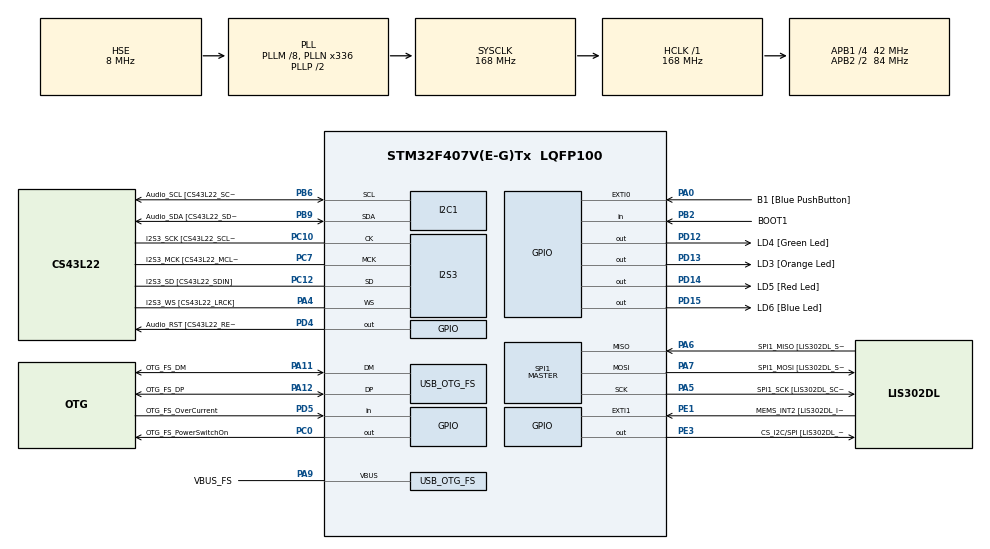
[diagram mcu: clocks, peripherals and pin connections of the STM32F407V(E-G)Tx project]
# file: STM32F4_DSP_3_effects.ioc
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Dma.Request0=SPI3_TX
Dma.SPI3_TX.0.Direction=DMA_MEMORY_TO_PERIPH
Dma.SPI3_TX.0.FIFOMode=DMA_FIFOMODE_DISABLE
Dma.SPI3_TX.0.Instance=DMA1_Stream5
Dma.SPI3_TX.0.MemDataAlignment=DMA_MDATAALIGN_HALFWORD
Dma.SPI3_TX.0.MemInc=DMA_MINC_ENABLE
Dma.SPI3_TX.0.Mode=DMA_NORMAL
Dma.SPI3_TX.0.PeriphDataAlignment=DMA_PDATAALIGN_HALFWORD
Dma.SPI3_TX.0.PeriphInc=DMA_PINC_DISABLE
Dma.SPI3_TX.0.Priority=DMA_PRIORITY_HIGH
I2S3.AudioFreq-Half_Duplex_Master=I2S_AUDIOFREQ_96K
I2S3.ErrorAudioFreq=-2.34 %
I2S3.ErrorAudioFreq-Half_Duplex_Master=0.8 %
I2S3.FullDuplexMode=I2S_FULLDUPLEXMODE_DISABLE
I2S3.Instance=SPI$Index
I2S3.RealAudioFreq=93.75 KHz
I2S3.RealAudioFreq-Half_Duplex_Master=96.774 KHz
I2S3.VirtualMode=I2S_MODE_MASTER
Mcu.Family=STM32F4
Mcu.Name=STM32F407V(E-G)Tx
Mcu.Package=LQFP100
NVIC.DMA1_Stream5_IRQn=true\:0\:0\:false\:false\:true\:false\:true\:true
NVIC.OTG_FS_IRQn=true\:0\:0\:false\:false\:true\:true\:true\:true
NVIC.PriorityGroup=NVIC_PRIORITYGROUP_0
PA0-WKUP.GPIO_Label=B1 [Blue PushButton]
PA0-WKUP.GPIO_ModeDefaultEXTI=GPIO_MODE_EVT_RISING
PA0-WKUP.GPIO_PuPd=GPIO_NOPULL
PA0-WKUP.Signal=GPXTI0
PA10.GPIO_Label=OTG_FS_ID
PA10.GPIO_Mode=GPIO_MODE_AF_PP
PA10.GPIO_PuPd=GPIO_NOPULL
PA10.GPIO_Speed=GPIO_SPEED_FREQ_LOW
PA10.Signal=USB_OTG_FS_ID
PA11.GPIO_Label=OTG_FS_DM
PA11.GPIO_Mode=GPIO_MODE_AF_PP
PA11.GPIO_PuPd=GPIO_NOPULL
PA11.GPIO_Speed=GPIO_SPEED_FREQ_LOW
PA11.Mode=Device_Only
PA11.Signal=USB_OTG_FS_DM
PA12.GPIO_Label=OTG_FS_DP
PA12.GPIO_Mode=GPIO_MODE_AF_PP
PA12.GPIO_PuPd=GPIO_NOPULL
PA12.GPIO_Speed=GPIO_SPEED_FREQ_LOW
PA12.Mode=Device_Only
PA12.Signal=USB_OTG_FS_DP
PA13.GPIO_Label=SWDIO
PA13.Mode=Serial_Wire
PA13.Signal=SYS_JTMS-SWDIO
PA14.GPIO_Label=SWCLK
PA14.Mode=Serial_Wire
PA14.Signal=SYS_JTCK-SWCLK
PA4.GPIO_Label=I2S3_WS [CS43L22_LRCK]
PA4.GPIO_Mode=GPIO_MODE_AF_PP
PA4.GPIO_PuPd=GPIO_NOPULL
PA4.GPIO_Speed=GPIO_SPEED_FREQ_LOW
PA4.Mode=Half_Duplex_Master
PA4.Signal=I2S3_WS
PA5.GPIO_Label=SPI1_SCK [LIS302DL_SCL/SPC]
PA5.GPIO_Mode=GPIO_MODE_AF_PP
PA5.GPIO_PuPd=GPIO_NOPULL
PA5.GPIO_Speed=GPIO_SPEED_FREQ_LOW
PA5.Mode=Full_Duplex_Master
PA5.Signal=SPI1_SCK
PA6.GPIO_Label=SPI1_MISO [LIS302DL_SDO]
PA6.GPIO_Mode=GPIO_MODE_AF_PP
PA6.GPIO_PuPd=GPIO_NOPULL
PA6.GPIO_Speed=GPIO_SPEED_FREQ_LOW
PA6.Mode=Full_Duplex_Master
PA6.Signal=SPI1_MISO
PA7.GPIO_Label=SPI1_MOSI [LIS302DL_SDA/SDI/SDO]
PA7.GPIO_Mode=GPIO_MODE_AF_PP
PA7.GPIO_PuPd=GPIO_NOPULL
PA7.GPIO_Speed=GPIO_SPEED_FREQ_LOW
PA7.Mode=Full_Duplex_Master
PA7.Signal=SPI1_MOSI
PA9.GPIO_Label=VBUS_FS
PA9.GPIO_Mode=GPIO_MODE_INPUT
PA9.GPIO_PuPd=GPIO_NOPULL
PA9.Mode=Activate_VBUS
PA9.Signal=USB_OTG_FS_VBUS
PB10.GPIO_Label=CLK_IN [MP45DT02_CLK]
PB10.GPIO_Mode=GPIO_MODE_AF_PP
PB10.GPIO_PuPd=GPIO_NOPULL
PB10.GPIO_Speed=GPIO_SPEED_FREQ_LOW
PB10.Signal=I2S2_CK
PB2.GPIO_Label=BOOT1
PB2.GPIO_Mode=GPIO_MODE_INPUT
PB2.GPIO_PuPd=GPIO_NOPULL
PB2.Signal=GPIO_Input
PB3.GPIO_Label=SWO
PB3.Signal=SYS_JTDO-SWO
PB6.GPIO_Label=Audio_SCL [CS43L22_SCL]
PB6.GPIO_Mode=GPIO_MODE_AF_OD
PB6.GPIO_Pu=GPIO_PULLUP
PB6.GPIO_PuPd=GPIO_NOPULL
PB6.GPIO_Speed=GPIO_SPEED_FREQ_LOW
PB6.Mode=I2C
PB6.Signal=I2C1_SCL
PB9.GPIO_Label=Audio_SDA [CS43L22_SDA]
PB9.GPIO_Mode=GPIO_MODE_AF_OD
PB9.GPIO_Pu=GPIO_PULLUP
PB9.GPIO_PuPd=GPIO_NOPULL
PB9.GPIO_Speed=GPIO_SPEED_FREQ_LOW
PB9.Mode=I2C
PB9.Signal=I2C1_SDA
PC0.GPIO_Label=OTG_FS_PowerSwitchOn
PC0.GPIO_PuPd=GPIO_NOPULL
PC0.GPIO_Speed=GPIO_SPEED_FREQ_LOW
PC0.PinState=GPIO_PIN_SET
PC0.Signal=GPIO_Output
PC10.GPIO_Label=I2S3_SCK [CS43L22_SCLK]
PC10.GPIO_Mode=GPIO_MODE_AF_PP
PC10.GPIO_PuPd=GPIO_NOPULL
PC10.GPIO_Speed=GPIO_SPEED_FREQ_LOW
PC10.Mode=Half_Duplex_Master
PC10.Signal=I2S3_CK
PC12.GPIO_Label=I2S3_SD [CS43L22_SDIN]
PC12.GPIO_Mode=GPIO_MODE_AF_PP
PC12.GPIO_PuPd=GPIO_NOPULL
PC12.GPIO_Speed=GPIO_SPEED_FREQ_LOW
PC12.Mode=Half_Duplex_Master
PC12.Signal=I2S3_SD
PC14-OSC32_IN.GPIO_Label=PC14-OSC32_IN
PC14-OSC32_IN.Mode=LSE-External-Oscillator
PC14-OSC32_IN.Signal=RCC_OSC32_IN
PC15-OSC32_OUT.GPIO_Label=PC15-OSC32_OUT
PC15-OSC32_OUT.Mode=LSE-External-Oscillator
PC15-OSC32_OUT.Signal=RCC_OSC32_OUT
PC3.GPIO_Label=PDM_OUT [MP45DT02_DOUT]
PC3.GPIO_Mode=GPIO_MODE_AF_PP
PC3.GPIO_PuPd=GPIO_NOPULL
PC3.GPIO_Speed=GPIO_SPEED_FREQ_LOW
PC3.Signal=I2S2_SD
PC7.GPIO_Label=I2S3_MCK [CS43L22_MCLK]
PC7.GPIO_Mode=GPIO_MODE_AF_PP
PC7.GPIO_PuPd=GPIO_NOPULL
PC7.GPIO_Speed=GPIO_SPEED_FREQ_LOW
PC7.Mode=Master_Clock_Activated
PC7.Signal=I2S3_MCK
PD12.GPIO_Label=LD4 [Green Led]
PD12.GPIO_PuPd=GPIO_NOPULL
PD12.GPIO_Speed=GPIO_SPEED_FREQ_LOW
PD12.Signal=GPIO_Output
PD13.GPIO_Label=LD3 [Orange Led]
PD13.GPIO_PuPd=GPIO_NOPULL
PD13.GPIO_Speed=GPIO_SPEED_FREQ_LOW
PD13.Signal=GPIO_Output
PD14.GPIO_Label=LD5 [Red Led]
PD14.GPIO_PuPd=GPIO_NOPULL
PD14.GPIO_Speed=GPIO_SPEED_FREQ_LOW
PD14.Signal=GPIO_Output
PD15.GPIO_Label=LD6 [Blue Led]
PD15.GPIO_PuPd=GPIO_NOPULL
PD15.GPIO_Speed=GPIO_SPEED_FREQ_LOW
PD15.Signal=GPIO_Output
PD4.GPIO_Label=Audio_RST [CS43L22_RESET]
PD4.GPIO_PuPd=GPIO_NOPULL
PD4.GPIO_Speed=GPIO_SPEED_FREQ_LOW
PD4.Signal=GPIO_Output
PD5.GPIO_Label=OTG_FS_OverCurrent
PD5.GPIO_Mode=GPIO_MODE_INPUT
PD5.GPIO_PuPd=GPIO_NOPULL
PD5.Signal=GPIO_Input
PE1.GPIO_Label=MEMS_INT2 [LIS302DL_INT2]
PE1.GPIO_ModeDefaultEXTI=GPIO_MODE_EVT_RISING
PE1.GPIO_PuPd=GPIO_NOPULL
PE1.Signal=GPXTI1
PE3.GPIO_Label=CS_I2C/SPI [LIS302DL_CS_I2C/SPI]
PE3.GPIO_PuPd=GPIO_NOPULL
PE3.GPIO_Speed=GPIO_SPEED_FREQ_LOW
PE3.Signal=GPIO_Output
PH0-OSC_IN.GPIO_Label=PH0-OSC_IN
PH0-OSC_IN.Mode=HSE-External-Oscillator
PH0-OSC_IN.Signal=RCC_OSC_IN
PH1-OSC_OUT.GPIO_Label=PH1-OSC_OUT
PH1-OSC_OUT.Mode=HSE-External-Oscillator
PH1-OSC_OUT.Signal=RCC_OSC_OUT
ProjectManager.HeapSize=0x200
ProjectManager.StackSize=0x400
ProjectManager.TargetToolchain=STM32CubeIDE
RCC.48MHZClocksFreq_Value=48000000
RCC.AHBFreq_Value=168000000
RCC.APB1CLKDivider=RCC_HCLK_DIV4
RCC.APB1Freq_Value=42000000
RCC.APB1TimFreq_Value=84000000
RCC.APB2CLKDivider=RCC_HCLK_DIV2
RCC.APB2Freq_Value=84000000
RCC.APB2TimFreq_Value=168000000
RCC.CortexFreq_Value=168000000
RCC.HCLKFreq_Value=168000000
RCC.HSE_VALUE=8000000
RCC.HSI_VALUE=16000000
RCC.PLLM=8
RCC.PLLN=336
RCC.PLLQ=7
RCC.SYSCLKFreq_VALUE=168000000
RCC.SYSCLKSource=RCC_SYSCLKSOURCE_PLLCLK
RCC.VCOOutputFreq_Value=336000000
SPI1.BaudRatePrescaler-Full_Duplex_Master=SPI_BAUDRATEPRESCALER_2
SPI1.CalculateBaudRate-Full_Duplex_Master=42.0 MBits/s
SPI1.Direction=SPI_DIRECTION_2LINES
SPI1.Mode=SPI_MODE_MASTER
SPI1.Mode-Full_Duplex_Master=SPI_MODE_MASTER
SPI1.VirtualType=VM_MASTER
USB_OTG_FS.VirtualMode=Device_Only
VP_CRC_VS_CRC.Mode=CRC_Activate
VP_PDM2PCM_VS_PDM2PCM.Mode=PDM2PCM_Channel
board=STM32F407G-DISC1

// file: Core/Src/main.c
/* USER CODE BEGIN Header */
/**
  ******************************************************************************
  * @file           : main.c
  * @brief          : Main program body
  ******************************************************************************
  * @attention
  *
  * Copyright (c) 2023 STMicroelectronics.
  * All rights reserved.
  *
  * This software is licensed under terms that can be found in the LICENSE file
  * in the root directory of this software component.
  * If no LICENSE file comes with this software, it is provided AS-IS.
  *
  ******************************************************************************
  */
/* USER CODE END Header */
#include "main.h"
#include "pdm2pcm.h"

/* USER CODE BEGIN Includes */
//#include "arm_math.h"
#include "math.h"
#include "stm32f4_discovery_audio.h"	//BSP
#include "audio_data.h"					//Audio signal array
#include <stdlib.h>						//abs f-jai

/* USER CODE END Includes */

/* USER CODE BEGIN PD */
	#define SAMPLING_FREQ 44100			//BSP_audio_out sampling frequency
	#define BUFF_SIZE	128				//Input buffer length

	#define ECHO_BUFF_SIZE 5000			//Echo buffer
	#define ECHO_GAIN 	0.5f			//Echo gain

/* USER CODE END PD */

CRC_HandleTypeDef hcrc;

I2C_HandleTypeDef hi2c1;

I2S_HandleTypeDef hi2s3;
DMA_HandleTypeDef hdma_spi3_tx;

SPI_HandleTypeDef hspi1;

PCD_HandleTypeDef hpcd_USB_OTG_FS;

/* USER CODE BEGIN PV */
	static int16_t Input_Signal[BUFF_SIZE];						//Input signal buffer
	static int16_t Output_Signal[BUFF_SIZE];					//Input signal buffer
	static int16_t OutputBuffer[BUFF_SIZE*2];					//Buffer to BSP_AUDIO_OUT, left+right channels

	uint32_t	audio_ptr = 0;									//Audio array pointer

	//IIR LP filter coeffs by MATLAB
	#define NUM_SECTIONS 1

	float b[NUM_SECTIONS][3] = {
	{3.94806912E-03, 7.89613824E-03, 3.94806912E-03} };

	float a[NUM_SECTIONS][3] = {
	{1.00000000E+00, -1.87614073E+00, 8.91933002E-01} };

	//Coeffs to implement LP filter
	float_t lp_b0, lp_b1, lp_b2, lp_a1, lp_a2, lp_z1_in, lp_z2_in, lp_z1_out, lp_z2_out;

	//Echo effect
	float_t echo_buffer[ECHO_BUFF_SIZE] = {0};
	uint16_t echo_ptr = 0;

/* USER CODE END PV */

void SystemClock_Config(void);
static void MX_GPIO_Init(void);
static void MX_DMA_Init(void);
static void MX_I2C1_Init(void);
static void MX_I2S3_Init(void);
static void MX_SPI1_Init(void);
static void MX_USB_OTG_FS_PCD_Init(void);
static void MX_CRC_Init(void);

/* USER CODE BEGIN 0 */

	//LP filter
	int16_t LP_filter(int16_t InSample)
	{
		float_t InSampleF = (float_t)InSample;

		float_t OutSampleF =
				lp_b0 * InSampleF
				+ lp_b1 * lp_z1_in
				+ lp_b2 * lp_z2_in
				- lp_a1 * lp_z1_out
				- lp_a2 * lp_z2_out;

		lp_z2_in = lp_z1_in;
		lp_z1_in = InSampleF;
		lp_z2_out = lp_z1_out;
		lp_z1_out = OutSampleF;

		return (int16_t)OutSampleF;
	}

	//Distortion
	int16_t Distortion(int16_t InSample)
	{
		float_t OutSample = 0;

		uint16_t high_level = 10000;
		float_t high_gain = 0.5;

		uint16_t low_level1 = 500;
		uint16_t low_level2 = 1500;
		float_t low_gain = 1.0;

		if(abs(InSample) > high_level) OutSample = (float_t)InSample * high_gain;
		else
			if((abs(InSample) > low_level1) && (abs(InSample) < low_level2)) OutSample = (float_t)InSample * low_gain;
			else
				OutSample = (float_t)InSample;

		return (int16_t)OutSample;
	}

	//Echo
	int16_t Echo(int16_t InSample)
	{
		float_t OutSample = 0;

		OutSample = echo_buffer[echo_ptr];

		echo_buffer[echo_ptr] = (float_t)InSample + OutSample * ECHO_GAIN;
		echo_ptr = (echo_ptr + 1) % ECHO_BUFF_SIZE;

		return (int16_t)OutSample;
	}

/* USER CODE END 0 */

int main(void)
{
  /* USER CODE BEGIN 1 */
		//Coeffs for the LP filter
		lp_b0 = b[0][0];
		lp_b1 = b[0][1];
		lp_b2 = b[0][2];
		lp_a1 = a[0][1];
		lp_a2 = a[0][2];

  /* USER CODE END 1 */

  /* MCU Configuration--------------------------------------------------------*/

  /* Reset of all peripherals, Initializes the Flash interface and the Systick. */
  HAL_Init();

  /* Configure the system clock */
  SystemClock_Config();

  /* Initialize all configured peripherals */
  MX_GPIO_Init();
  MX_DMA_Init();
  MX_I2C1_Init();
  MX_I2S3_Init();
  MX_SPI1_Init();
  MX_USB_OTG_FS_PCD_Init();
  MX_CRC_Init();
  MX_PDM2PCM_Init();
  /* USER CODE BEGIN 2 */

  	  	  /*** Input_Signal masyvo pradinis pildymas ***/
    	  for(int i = 0; i < BUFF_SIZE; i++)
    	  {
    		  Input_Signal[i] = audio_data[audio_ptr];

    		  audio_ptr++;
    		  if(audio_ptr == audio_data_size) audio_ptr = 0;
    	  }

    	  /*** Initialize the Audio codec and all related peripherals (I2S, I2C, IOExpander, IOs...) ***/
    	  if(BSP_AUDIO_OUT_Init(OUTPUT_DEVICE_AUTO, 60, SAMPLING_FREQ) != AUDIO_OK)
    	  {
    		  Error_Handler();
    	  }

    	  /*** Fill Output Buffer ***/
    	  for(int i = 0; i < BUFF_SIZE; i++)
    	  {
    		  OutputBuffer[i<<1] = (int16_t)Input_Signal[i];
    	      OutputBuffer[(i<<1)+1] = (int16_t)Input_Signal[i];	//Mono Audio
    	  }

    	  /*** Start Audio play ***/
    	  BSP_AUDIO_OUT_Play((uint16_t*)&OutputBuffer[0], BUFF_SIZE*2);

  /* USER CODE END 2 */

  /* Infinite loop */
  /* USER CODE BEGIN WHILE */
  while (1)
  {
	  HAL_GPIO_TogglePin(LD4_GPIO_Port, LD4_Pin);
	  HAL_Delay(500);
    /* USER CODE END WHILE */

  }
}

void SystemClock_Config(void)
{
  RCC_OscInitTypeDef RCC_OscInitStruct = {0};
  RCC_ClkInitTypeDef RCC_ClkInitStruct = {0};

  /** Configure the main internal regulator output voltage
  */
  __HAL_RCC_PWR_CLK_ENABLE();
  __HAL_PWR_VOLTAGESCALING_CONFIG(PWR_REGULATOR_VOLTAGE_SCALE1);

  /** Initializes the RCC Oscillators according to the specified parameters
  * in the RCC_OscInitTypeDef structure.
  */
  RCC_OscInitStruct.OscillatorType = RCC_OSCILLATORTYPE_HSE;
  RCC_OscInitStruct.HSEState = RCC_HSE_ON;
  RCC_OscInitStruct.PLL.PLLState = RCC_PLL_ON;
  RCC_OscInitStruct.PLL.PLLSource = RCC_PLLSOURCE_HSE;
  RCC_OscInitStruct.PLL.PLLM = 8;
  RCC_OscInitStruct.PLL.PLLN = 336;
  RCC_OscInitStruct.PLL.PLLP = RCC_PLLP_DIV2;
  RCC_OscInitStruct.PLL.PLLQ = 7;
  if (HAL_RCC_OscConfig(&RCC_OscInitStruct) != HAL_OK)
  {
    Error_Handler();
  }

  /** Initializes the CPU, AHB and APB buses clocks
  */
  RCC_ClkInitStruct.ClockType = RCC_CLOCKTYPE_HCLK|RCC_CLOCKTYPE_SYSCLK
                              |RCC_CLOCKTYPE_PCLK1|RCC_CLOCKTYPE_PCLK2;
  RCC_ClkInitStruct.SYSCLKSource = RCC_SYSCLKSOURCE_PLLCLK;
  RCC_ClkInitStruct.AHBCLKDivider = RCC_SYSCLK_DIV1;
  RCC_ClkInitStruct.APB1CLKDivider = RCC_HCLK_DIV4;
  RCC_ClkInitStruct.APB2CLKDivider = RCC_HCLK_DIV2;

  if (HAL_RCC_ClockConfig(&RCC_ClkInitStruct, FLASH_LATENCY_5) != HAL_OK)
  {
    Error_Handler();
  }
}

static void MX_CRC_Init(void)
{

  hcrc.Instance = CRC;
  if (HAL_CRC_Init(&hcrc) != HAL_OK)
  {
    Error_Handler();
  }
  __HAL_CRC_DR_RESET(&hcrc);

}

static void MX_I2C1_Init(void)
{

  hi2c1.Instance = I2C1;
  hi2c1.Init.ClockSpeed = 100000;
  hi2c1.Init.DutyCycle = I2C_DUTYCYCLE_2;
  hi2c1.Init.OwnAddress1 = 0;
  hi2c1.Init.AddressingMode = I2C_ADDRESSINGMODE_7BIT;
  hi2c1.Init.DualAddressMode = I2C_DUALADDRESS_DISABLE;
  hi2c1.Init.OwnAddress2 = 0;
  hi2c1.Init.GeneralCallMode = I2C_GENERALCALL_DISABLE;
  hi2c1.Init.NoStretchMode = I2C_NOSTRETCH_DISABLE;
  if (HAL_I2C_Init(&hi2c1) != HAL_OK)
  {
    Error_Handler();
  }

}

static void MX_I2S3_Init(void)
{

  hi2s3.Instance = SPI3;
  hi2s3.Init.Mode = I2S_MODE_MASTER_TX;
  hi2s3.Init.Standard = I2S_STANDARD_PHILIPS;
  hi2s3.Init.DataFormat = I2S_DATAFORMAT_16B;
  hi2s3.Init.MCLKOutput = I2S_MCLKOUTPUT_ENABLE;
  hi2s3.Init.AudioFreq = I2S_AUDIOFREQ_96K;
  hi2s3.Init.CPOL = I2S_CPOL_LOW;
  hi2s3.Init.ClockSource = I2S_CLOCK_PLL;
  hi2s3.Init.FullDuplexMode = I2S_FULLDUPLEXMODE_DISABLE;
  if (HAL_I2S_Init(&hi2s3) != HAL_OK)
  {
    Error_Handler();
  }

}

static void MX_SPI1_Init(void)
{

  /* SPI1 parameter configuration*/
  hspi1.Instance = SPI1;
  hspi1.Init.Mode = SPI_MODE_MASTER;
  hspi1.Init.Direction = SPI_DIRECTION_2LINES;
  hspi1.Init.DataSize = SPI_DATASIZE_8BIT;
  hspi1.Init.CLKPolarity = SPI_POLARITY_LOW;
  hspi1.Init.CLKPhase = SPI_PHASE_1EDGE;
  hspi1.Init.NSS = SPI_NSS_SOFT;
  hspi1.Init.BaudRatePrescaler = SPI_BAUDRATEPRESCALER_2;
  hspi1.Init.FirstBit = SPI_FIRSTBIT_MSB;
  hspi1.Init.TIMode = SPI_TIMODE_DISABLE;
  hspi1.Init.CRCCalculation = SPI_CRCCALCULATION_DISABLE;
  hspi1.Init.CRCPolynomial = 10;
  if (HAL_SPI_Init(&hspi1) != HAL_OK)
  {
    Error_Handler();
  }

}

static void MX_USB_OTG_FS_PCD_Init(void)
{

  hpcd_USB_OTG_FS.Instance = USB_OTG_FS;
  hpcd_USB_OTG_FS.Init.dev_endpoints = 4;
  hpcd_USB_OTG_FS.Init.speed = PCD_SPEED_FULL;
  hpcd_USB_OTG_FS.Init.dma_enable = DISABLE;
  hpcd_USB_OTG_FS.Init.phy_itface = PCD_PHY_EMBEDDED;
  hpcd_USB_OTG_FS.Init.Sof_enable = DISABLE;
  hpcd_USB_OTG_FS.Init.low_power_enable = DISABLE;
  hpcd_USB_OTG_FS.Init.lpm_enable = DISABLE;
  hpcd_USB_OTG_FS.Init.vbus_sensing_enable = ENABLE;
  hpcd_USB_OTG_FS.Init.use_dedicated_ep1 = DISABLE;
  if (HAL_PCD_Init(&hpcd_USB_OTG_FS) != HAL_OK)
  {
    Error_Handler();
  }

}

static void MX_DMA_Init(void)
{

  /* DMA controller clock enable */
  __HAL_RCC_DMA1_CLK_ENABLE();

  /* DMA interrupt init */
  /* DMA1_Stream5_IRQn interrupt configuration */
  HAL_NVIC_SetPriority(DMA1_Stream5_IRQn, 0, 0);
  HAL_NVIC_EnableIRQ(DMA1_Stream5_IRQn);

}

static void MX_GPIO_Init(void)
{
  GPIO_InitTypeDef GPIO_InitStruct = {0};

  /* GPIO Ports Clock Enable */
  __HAL_RCC_GPIOE_CLK_ENABLE();
  __HAL_RCC_GPIOC_CLK_ENABLE();
  __HAL_RCC_GPIOH_CLK_ENABLE();
  __HAL_RCC_GPIOA_CLK_ENABLE();
  __HAL_RCC_GPIOB_CLK_ENABLE();
  __HAL_RCC_GPIOD_CLK_ENABLE();

  /*Configure GPIO pin Output Level */
  HAL_GPIO_WritePin(CS_I2C_SPI_GPIO_Port, CS_I2C_SPI_Pin, GPIO_PIN_RESET);

  /*Configure GPIO pin Output Level */
  HAL_GPIO_WritePin(OTG_FS_PowerSwitchOn_GPIO_Port, OTG_FS_PowerSwitchOn_Pin, GPIO_PIN_SET);

  /*Configure GPIO pin Output Level */
  HAL_GPIO_WritePin(GPIOD, LD4_Pin|LD3_Pin|LD5_Pin|LD6_Pin
                          |Audio_RST_Pin, GPIO_PIN_RESET);

  /*Configure GPIO pin : CS_I2C_SPI_Pin */
  GPIO_InitStruct.Pin = CS_I2C_SPI_Pin;
  GPIO_InitStruct.Mode = GPIO_MODE_OUTPUT_PP;
  GPIO_InitStruct.Pull = GPIO_NOPULL;
  GPIO_InitStruct.Speed = GPIO_SPEED_FREQ_LOW;
  HAL_GPIO_Init(CS_I2C_SPI_GPIO_Port, &GPIO_InitStruct);

  /*Configure GPIO pin : OTG_FS_PowerSwitchOn_Pin */
  GPIO_InitStruct.Pin = OTG_FS_PowerSwitchOn_Pin;
  GPIO_InitStruct.Mode = GPIO_MODE_OUTPUT_PP;
  GPIO_InitStruct.Pull = GPIO_NOPULL;
  GPIO_InitStruct.Speed = GPIO_SPEED_FREQ_LOW;
  HAL_GPIO_Init(OTG_FS_PowerSwitchOn_GPIO_Port, &GPIO_InitStruct);

  /*Configure GPIO pin : PDM_OUT_Pin */
  GPIO_InitStruct.Pin = PDM_OUT_Pin;
  GPIO_InitStruct.Mode = GPIO_MODE_AF_PP;
  GPIO_InitStruct.Pull = GPIO_NOPULL;
  GPIO_InitStruct.Speed = GPIO_SPEED_FREQ_LOW;
  GPIO_InitStruct.Alternate = GPIO_AF5_SPI2;
  HAL_GPIO_Init(PDM_OUT_GPIO_Port, &GPIO_InitStruct);

  /*Configure GPIO pin : B1_Pin */
  GPIO_InitStruct.Pin = B1_Pin;
  GPIO_InitStruct.Mode = GPIO_MODE_EVT_RISING;
  GPIO_InitStruct.Pull = GPIO_NOPULL;
  HAL_GPIO_Init(B1_GPIO_Port, &GPIO_InitStruct);

  /*Configure GPIO pin : BOOT1_Pin */
  GPIO_InitStruct.Pin = BOOT1_Pin;
  GPIO_InitStruct.Mode = GPIO_MODE_INPUT;
  GPIO_InitStruct.Pull = GPIO_NOPULL;
  HAL_GPIO_Init(BOOT1_GPIO_Port, &GPIO_InitStruct);

  /*Configure GPIO pin : CLK_IN_Pin */
  GPIO_InitStruct.Pin = CLK_IN_Pin;
  GPIO_InitStruct.Mode = GPIO_MODE_AF_PP;
  GPIO_InitStruct.Pull = GPIO_NOPULL;
  GPIO_InitStruct.Speed = GPIO_SPEED_FREQ_LOW;
  GPIO_InitStruct.Alternate = GPIO_AF5_SPI2;
  HAL_GPIO_Init(CLK_IN_GPIO_Port, &GPIO_InitStruct);

  /*Configure GPIO pins : LD4_Pin LD3_Pin LD5_Pin LD6_Pin
                           Audio_RST_Pin */
  GPIO_InitStruct.Pin = LD4_Pin|LD3_Pin|LD5_Pin|LD6_Pin
                          |Audio_RST_Pin;
  GPIO_InitStruct.Mode = GPIO_MODE_OUTPUT_PP;
  GPIO_InitStruct.Pull = GPIO_NOPULL;
  GPIO_InitStruct.Speed = GPIO_SPEED_FREQ_LOW;
  HAL_GPIO_Init(GPIOD, &GPIO_InitStruct);

  /*Configure GPIO pin : OTG_FS_OverCurrent_Pin */
  GPIO_InitStruct.Pin = OTG_FS_OverCurrent_Pin;
  GPIO_InitStruct.Mode = GPIO_MODE_INPUT;
  GPIO_InitStruct.Pull = GPIO_NOPULL;
  HAL_GPIO_Init(OTG_FS_OverCurrent_GPIO_Port, &GPIO_InitStruct);

  /*Configure GPIO pin : MEMS_INT2_Pin */
  GPIO_InitStruct.Pin = MEMS_INT2_Pin;
  GPIO_InitStruct.Mode = GPIO_MODE_EVT_RISING;
  GPIO_InitStruct.Pull = GPIO_NOPULL;
  HAL_GPIO_Init(MEMS_INT2_GPIO_Port, &GPIO_InitStruct);

}

/* USER CODE BEGIN 4 */

	/* 1/2 buferio pertrauktis
	 * - atliekame 1-os dalies reiksmių atnaujinima
	 * - atliekame 1-os dalies filtravima ir t.t.
	 */
	void BSP_AUDIO_OUT_HalfTransfer_CallBack(void)
	{

		/*** Input_Signal masyvo pildymas ***/
		for(int i = 0; i < BUFF_SIZE/2; i++)
		{
		  	Input_Signal[i] = audio_data[audio_ptr];
		  	audio_ptr++;
		  	if(audio_ptr == audio_data_size) audio_ptr = 0;
		}

		/*** Signalo apdorojimas ***/
		for(int i = 0; i < BUFF_SIZE/2; i++)
		{
			//LP filter demo
			//Output_Signal[i] = LP_filter(Input_Signal[i]);

			//Distortion demo
			Output_Signal[i] = Distortion(Input_Signal[i]);

			//Echo demo
			//Output_Signal[i] = Echo(Input_Signal[i]);
		}

		 /*** Fill Output Buffer ***/
		 for(int i = 0; i < BUFF_SIZE/2; i++)
		 {
			 //OutputBuffer[i<<1] = (int16_t)Input_Signal[i];
			 //OutputBuffer[(i<<1)+1] = (int16_t)Input_Signal[i];
			 OutputBuffer[(i<<1)] = (int16_t)Output_Signal[i];
			 OutputBuffer[(i<<1)+1] = (int16_t)Output_Signal[i];
		 }

	} //END BSP_AUDIO_OUT_HalfTransfer_CallBack(void)

	/* Buferio pabaigos pertrauktis
	 * - nukreipiame rodykle i bufferio pradzia
	 * - atliekame 2-os dalies reiksmiu atnaujinima
	 * - atliekame 2-os dalies filtravima ir t.t.	 *
	 */
	void BSP_AUDIO_OUT_TransferComplete_CallBack(void)
	{
		BSP_AUDIO_OUT_ChangeBuffer((uint16_t*)&OutputBuffer[0], BUFF_SIZE*2);
		HAL_GPIO_TogglePin(LD3_GPIO_Port, LD3_Pin);

		/*** Input_Signal masyvo pildymas ***/
		for(int i = BUFF_SIZE/2; i < BUFF_SIZE; i++)
		{
		  	Input_Signal[i] = audio_data[audio_ptr];
		  	audio_ptr++;
		  	if(audio_ptr == audio_data_size) audio_ptr = 0;
		}

		/*** Signalo apdorojimas ***/
		for(int i = BUFF_SIZE/2; i < BUFF_SIZE; i++)
		{
			//LP filter demo
			//Output_Signal[i] = LP_filter(Input_Signal[i]);

			//Distortion demo
			Output_Signal[i] = Distortion(Input_Signal[i]);

			//Echo demo
			//Output_Signal[i] = Echo(Input_Signal[i]);
		}

		 /*** Fill Output Buffer ***/
		 for(int i = BUFF_SIZE/2; i < BUFF_SIZE; i++)
		 {
			 //OutputBuffer[i<<1] = (int16_t)Input_Signal[i];
		     //OutputBuffer[(i<<1)+1] = (int16_t)Input_Signal[i];
		     OutputBuffer[(i<<1)] = (int16_t)Output_Signal[i];
		     OutputBuffer[(i<<1)+1] = (int16_t)Output_Signal[i];
		 }

	} //BSP_AUDIO_OUT_TransferComplete_CallBack(void)

/* USER CODE END 4 */

void Error_Handler(void)
{
  /* USER CODE BEGIN Error_Handler_Debug */
  /* User can add his own implementation to report the HAL error return state */
  __disable_irq();
  HAL_GPIO_WritePin(LD5_GPIO_Port, LD5_Pin, GPIO_PIN_SET);
  while (1)
  {
  }
  /* USER CODE END Error_Handler_Debug */
}
